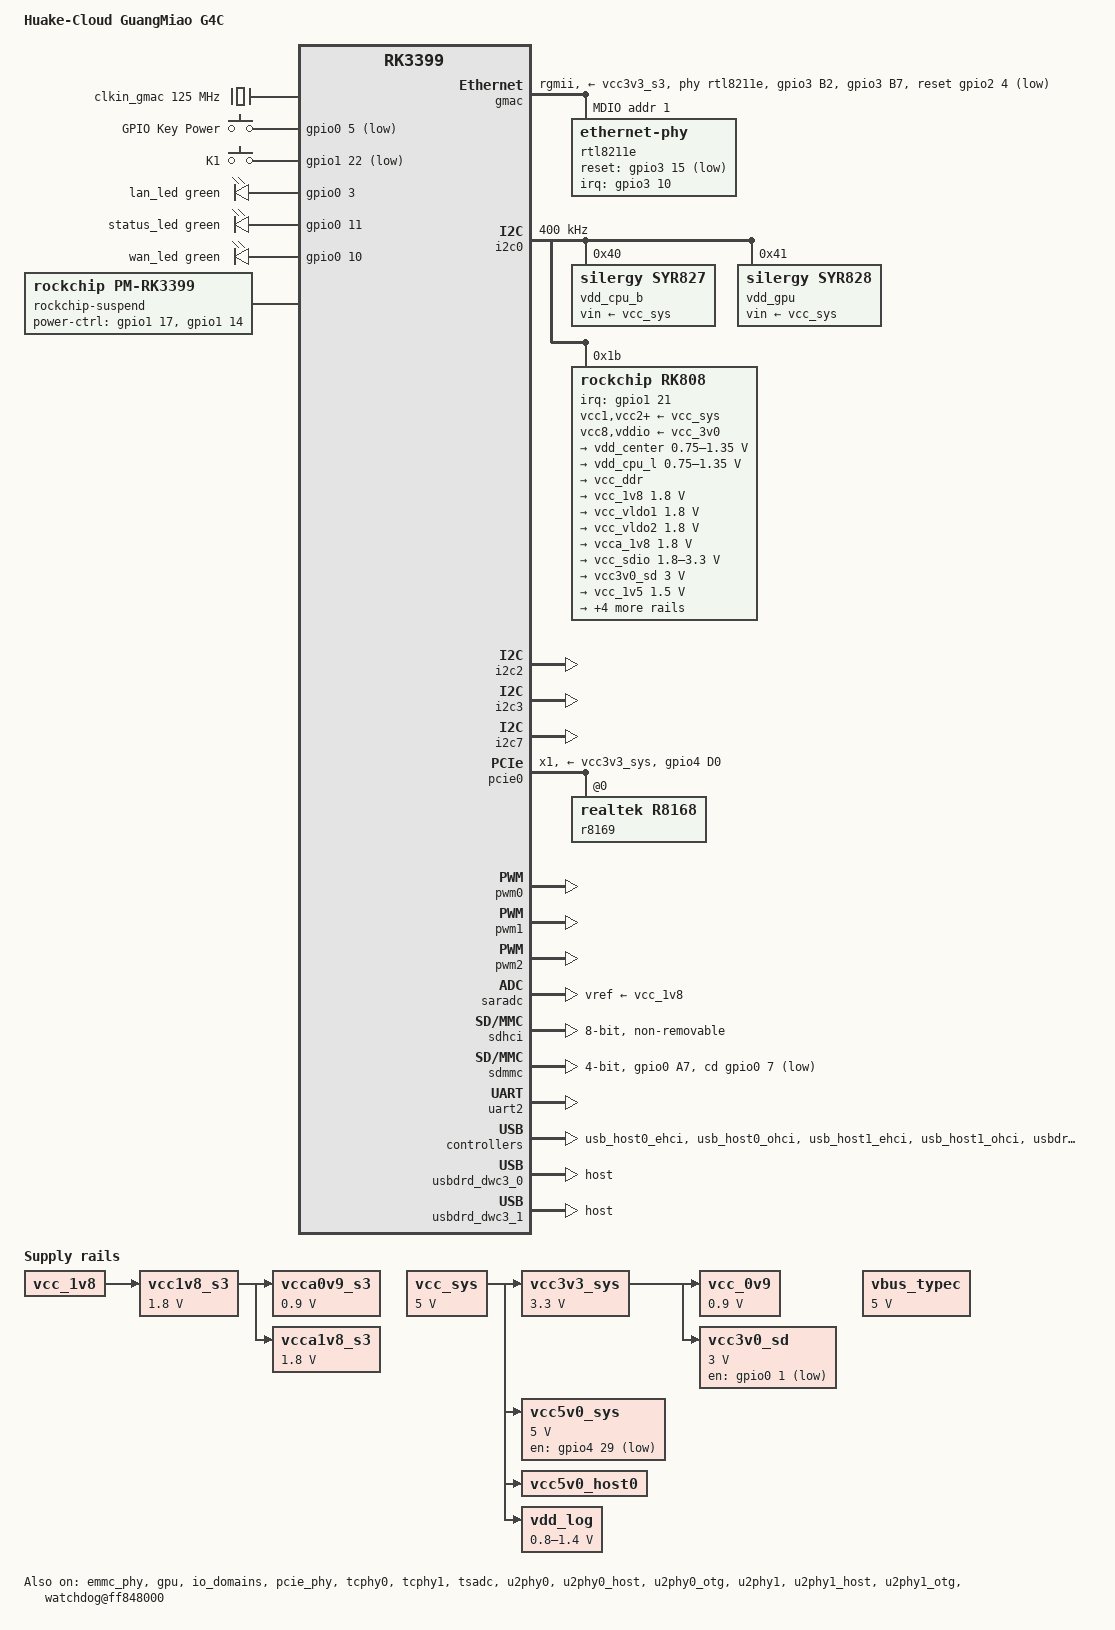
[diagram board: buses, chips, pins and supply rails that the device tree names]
// SPDX-License-Identifier: GPL-2.0-or-later OR MIT
/dts-v1/;
#include <dt-bindings/gpio/gpio.h>
#include <dt-bindings/input/input.h>
#include <dt-bindings/leds/common.h>
#include <dt-bindings/interrupt-controller/irq.h>
#include <dt-bindings/interrupt-controller/arm-gic.h>
#include <dt-bindings/pinctrl/rockchip.h>
#include <dt-bindings/clock/rk3399-cru.h>
#include <dt-bindings/power/rk3399-power.h>
#include "rk3399.dtsi"

/ {
    model = "Huake-Cloud GuangMiao G4C";
    compatible = "huake,guangmiao-g4c", "rockchip,rk3399";

    aliases {
        ethernet0 = &gmac;
        ethernet1 = &r8169;
        led-boot = &status_led;
        led-failsafe = &status_led;
        led-running = &status_led;
        led-upgrade = &status_led;
    };

    chosen {
        stdout-path = "serial2:115200n8";
    };

    clkin_gmac: external-gmac-clock {
        compatible = "fixed-clock";
        clock-frequency = <125000000>;
        clock-output-names = "clkin_gmac";
        #clock-cells = <0>;
    };

    vcc_sys: vcc-sys-regulator {
        compatible = "regulator-fixed";
        regulator-name = "vcc_sys";
        regulator-always-on;
        regulator-boot-on;
        regulator-min-microvolt = <5000000>;
        regulator-max-microvolt = <5000000>;
    };

    vcc3v3_sys: vcc3v3-sys-regulator {
        compatible = "regulator-fixed";
        regulator-name = "vcc3v3_sys";
        regulator-always-on;
        regulator-boot-on;
        regulator-min-microvolt = <3300000>;
        regulator-max-microvolt = <3300000>;
        vin-supply = <&vcc_sys>;
    };

    vcc5v0_sys: vcc5v0-sys-regulator {
        compatible = "regulator-fixed";
        regulator-name = "vcc5v0_sys";
        regulator-always-on;
        regulator-boot-on;
        regulator-min-microvolt = <5000000>;
        regulator-max-microvolt = <5000000>;
        vin-supply = <&vcc_sys>;
        gpios = <&gpio4 29 GPIO_ACTIVE_HIGH>;
        pinctrl-names = "default";
        pinctrl-0 = <&pcie_ext_en>;
    };

    vcc_0v9: vcc-0v9-regulator {
        compatible = "regulator-fixed";
        regulator-name = "vcc_0v9";
        regulator-always-on;
        regulator-boot-on;
        regulator-min-microvolt = <900000>;
        regulator-max-microvolt = <900000>;
        vin-supply = <&vcc3v3_sys>;
    };

    vcc5v0_host0: vcc5v0-host0-regulator {
        compatible = "regulator-fixed";
        regulator-name = "vcc5v0_host0";
        regulator-always-on;
        regulator-boot-on;
        vin-supply = <&vcc_sys>;
    };

    vdd_log: vdd-log-regulator {
        compatible = "pwm-regulator";
        pwms = <&pwm2 0 25000 1>;
        regulator-name = "vdd_log";
        regulator-always-on;
        regulator-boot-on;
        regulator-min-microvolt = <800000>;
        regulator-max-microvolt = <1400000>;
        vin-supply = <&vcc_sys>;
    };

    vcc1v8_s3: vcc1v8-s3-regulator {
        compatible = "regulator-fixed";
        regulator-name = "vcc1v8_s3";
        regulator-always-on;
        regulator-boot-on;
        regulator-min-microvolt = <1800000>;
        regulator-max-microvolt = <1800000>;
        vin-supply = <&vcc_1v8>;
    };

    vcca0v9_s3: vcca0v9-s3-regulator {
        compatible = "regulator-fixed";
        regulator-name = "vcca0v9_s3";
        regulator-min-microvolt = <900000>;
        regulator-max-microvolt = <900000>;
        vin-supply = <&vcc1v8_s3>;
    };

    vcca1v8_s3: vcca1v8-s3-regulator {
        compatible = "regulator-fixed";
        regulator-name = "vcca1v8_s3";
        regulator-min-microvolt = <1800000>;
        regulator-max-microvolt = <1800000>;
        vin-supply = <&vcc1v8_s3>;
    };

    vcc3v0_sd: vcc3v0-sd-regulator {
        compatible = "regulator-fixed";
        regulator-name = "vcc3v0_sd";
        regulator-always-on;
        regulator-min-microvolt = <3000000>;
        regulator-max-microvolt = <3000000>;
        regulator-uv-protection-microvolt = <2700000>;
        vin-supply = <&vcc3v3_sys>;
        gpios = <&gpio0 1 GPIO_ACTIVE_HIGH>;
        pinctrl-names = "default";
        pinctrl-0 = <&sdmmc0_pwr_h>;
    };

    vbus_typec: vbus-typec-regulator {
        compatible = "regulator-fixed";
        regulator-name = "vbus_typec";
        regulator-min-microvolt = <5000000>;
        regulator-max-microvolt = <5000000>;
    };

    gpio-keys {
        compatible = "gpio-keys";
        autorepeat;
        pinctrl-names = "default";
        pinctrl-0 = <&key_pins>;

        power {
            label = "GPIO Key Power";
            debounce-interval = <100>;
            gpios = <&gpio0 5 GPIO_ACTIVE_LOW>;
            linux,code = <KEY_POWER>;
            wakeup-source;
        };

        button-k1 {
            label = "K1";
            debounce-interval = <50>;
            gpios = <&gpio1 22 GPIO_ACTIVE_LOW>;
            linux,code = <KEY_F1>;
            wakeup-source;
        };
    };

    gpio-leds {
        compatible = "gpio-leds";
        pinctrl-names = "default";
        pinctrl-0 = <&lan_led_pin>, <&status_led_pin>, <&wan_led_pin>;

        lan_led: led-lan {
            color = <LED_COLOR_ID_GREEN>;
            function = LED_FUNCTION_LAN;
            gpios = <&gpio0 3 GPIO_ACTIVE_HIGH>;
        };

        status_led: led-status {
            color = <LED_COLOR_ID_GREEN>;
            function = LED_FUNCTION_STATUS;
            gpios = <&gpio0 11 GPIO_ACTIVE_HIGH>;
            linux,default-trigger = "heartbeat";
        };

        wan_led: led-wan {
            color = <LED_COLOR_ID_GREEN>;
            function = LED_FUNCTION_WAN;
            gpios = <&gpio0 10 GPIO_ACTIVE_HIGH>;
        };
    };

    rockchip-suspend {
        compatible = "rockchip,pm-rk3399";
        rockchip,sleep-debug-en = <1>;
        rockchip,sleep-mode-config = <0xde>;
        rockchip,wakeup-config = <0x804>;
        rockchip,pwm-regulator-config = <0x04>;
        rockchip,power-ctrl = <&gpio1 17 0>, <&gpio1 14 0>;
        status = "okay"; 
    };

    watchdog@ff848000 {
        compatible = "snps,dw-wdt";
        reg = <0x0 0xff848000 0x0 0x100>;
        clocks = <&cru PCLK_WDT>;
        interrupts = <GIC_SPI 120 IRQ_TYPE_LEVEL_HIGH 0>;
        status = "okay";
        timeout-sec = <8>;
    };
};

&cpu_b0 { cpu-supply = <&vdd_cpu_b>; };
&cpu_b1 { cpu-supply = <&vdd_cpu_b>; };
&cpu_l0 { cpu-supply = <&vdd_cpu_l>; };
&cpu_l1 { cpu-supply = <&vdd_cpu_l>; };
&cpu_l2 { cpu-supply = <&vdd_cpu_l>; };
&cpu_l3 { cpu-supply = <&vdd_cpu_l>; };

&emmc_phy { status = "okay"; };

&gmac {
    assigned-clock-parents = <&clkin_gmac>;
    assigned-clocks = <&cru SCLK_RMII_SRC>;
    clock_in_out = "input";
    pinctrl-names = "default";
    pinctrl-0 = <&rgmii_pins>, <&phy_intb>, <&phy_rstb>;
    phy-handle = <&rtl8211e>;
    phy-mode = "rgmii";
    phy-supply = <&vcc3v3_s3>;
    snps,reset-gpio = <&gpio2 4 GPIO_ACTIVE_LOW>;
    snps,reset-active-low;
    snps,reset-delays-us = <0 10000 50000>;
    tx_delay = <0x28>;
    rx_delay = <0x11>;
    status = "okay";

    mdio {
        compatible = "snps,dwmac-mdio";
        #address-cells = <1>;
        #size-cells = <0>;

        rtl8211e: ethernet-phy@1 {
            reg = <1>;
            interrupt-parent = <&gpio3>;
            interrupts = <10 IRQ_TYPE_LEVEL_LOW>;
            reset-assert-us = <10000>;
            reset-deassert-us = <30000>;
            reset-gpios = <&gpio3 15 GPIO_ACTIVE_LOW>;
        };
    };
};

&gpu {
    mali-supply = <&vdd_gpu>;
    status = "okay";
};

&i2c0 {
    clock-frequency = <400000>;
    i2c-scl-rising-time-ns = <160>;
    i2c-scl-falling-time-ns = <30>;
    status = "okay";

    vdd_cpu_b: regulator@40 {
        compatible = "silergy,syr827";
        reg = <0x40>;
        fcs,suspend-voltage-selector = <1>;
        pinctrl-names = "default";
        pinctrl-0 = <&cpu_b_sleep>;
        regulator-always-on;
        regulator-boot-on;
        regulator-min-microvolt = <712500>;
        regulator-max-microvolt = <1500000>;
        regulator-name = "vdd_cpu_b";
        regulator-ramp-delay = <1000>;
        vin-supply = <&vcc_sys>;
        regulator-state-mem {
            regulator-on-in-suspend;
        };
    };

    vdd_gpu: regulator@41 {
        compatible = "silergy,syr828";
        reg = <0x41>;
        fcs,suspend-voltage-selector = <1>;
        pinctrl-names = "default";
        pinctrl-0 = <&gpu_sleep>;
        regulator-always-on;
        regulator-boot-on;
        regulator-min-microvolt = <712500>;
        regulator-max-microvolt = <1500000>;
        regulator-name = "vdd_gpu";
        regulator-ramp-delay = <1000>;
        vin-supply = <&vcc_sys>;
        regulator-state-mem {
            regulator-on-in-suspend;
        };
    };

    rk808: pmic@1b {
        compatible = "rockchip,rk808";
        reg = <0x1b>;
        clock-output-names = "xin32k", "rtc_clko_wifi";
        #clock-cells = <1>;
        interrupt-parent = <&gpio1>;
        interrupts = <21 IRQ_TYPE_LEVEL_LOW>;
        pinctrl-names = "default";
        pinctrl-0 = <&pmic_int_l>;
        rockchip,system-power-controller;
        wakeup-source;
        vcc1-supply = <&vcc_sys>;
        vcc2-supply = <&vcc_sys>;
        vcc3-supply = <&vcc_sys>;
        vcc4-supply = <&vcc_sys>;
        vcc6-supply = <&vcc_sys>;
        vcc7-supply = <&vcc_sys>;
        vcc8-supply = <&vcc_3v0>;
        vcc9-supply = <&vcc_sys>;
        vcc10-supply = <&vcc_sys>;
        vcc11-supply = <&vcc_sys>;
        vcc12-supply = <&vcc_sys>;
        vddio-supply = <&vcc_3v0>;

        regulators {
            vdd_center: DCDC_REG1 {
                regulator-always-on;
                regulator-boot-on;
                regulator-min-microvolt = <750000>;
                regulator-max-microvolt = <1350000>;
                regulator-name = "vdd_center";
                regulator-ramp-delay = <6001>;
                regulator-state-mem {
                    regulator-on-in-suspend;
                };
            };
            vdd_cpu_l: DCDC_REG2 {
                regulator-always-on;
                regulator-boot-on;
                regulator-min-microvolt = <750000>;
                regulator-max-microvolt = <1350000>;
                regulator-name = "vdd_cpu_l";
                regulator-ramp-delay = <6001>;
                regulator-state-mem {
                    regulator-on-in-suspend;
                };
            };
            vcc_ddr: DCDC_REG3 {
                regulator-always-on;
                regulator-boot-on;
                regulator-name = "vcc_ddr";
                regulator-state-mem {
                    regulator-on-in-suspend;
                };
            };
            vcc_1v8: DCDC_REG4 {
                regulator-always-on;
                regulator-boot-on;
                regulator-min-microvolt = <1800000>;
                regulator-max-microvolt = <1800000>;
                regulator-name = "vcc_1v8";
                regulator-state-mem {
                    regulator-on-in-suspend;
                    regulator-suspend-microvolt = <1800000>;
                };
            };
            vcc_vldo1: LDO_REG1 {
                regulator-always-on;
                regulator-boot-on;
                regulator-min-microvolt = <1800000>;
                regulator-max-microvolt = <1800000>;
                regulator-name = "vcc_vldo1";
                regulator-state-mem {
                    regulator-on-in-suspend;
                };
            };
            vcc_vldo2: LDO_REG2 {
                regulator-always-on;
                regulator-boot-on;
                regulator-min-microvolt = <1800000>;
                regulator-max-microvolt = <1800000>;
                regulator-name = "vcc_vldo2";
                regulator-state-mem {
                    regulator-on-in-suspend;
                };
            };
            vcca_1v8: LDO_REG3 {
                regulator-always-on;
                regulator-boot-on;
                regulator-min-microvolt = <1800000>;
                regulator-max-microvolt = <1800000>;
                regulator-name = "vcca_1v8";
                regulator-state-mem {
                    regulator-on-in-suspend;
                    regulator-suspend-microvolt = <1800000>;
                };
            };
            vcc_sdio: LDO_REG4 {
                regulator-always-on;
                regulator-boot-on;
                regulator-min-microvolt = <1800000>;
                regulator-max-microvolt = <3300000>;
                regulator-name = "vcc_sdio";
                regulator-state-mem {
                    regulator-on-in-suspend;
                    regulator-suspend-microvolt = <3300000>;
                };
            };
            LDO_REG5 {
                regulator-always-on;
                regulator-boot-on;
                regulator-min-microvolt = <3000000>;
                regulator-max-microvolt = <3000000>;
                regulator-name = "vcc3v0_sd";
                regulator-state-mem {
                    regulator-on-in-suspend;
                    regulator-suspend-microvolt = <3000000>;
                };
            };
            vcc_1v5: LDO_REG6 {
                regulator-always-on;
                regulator-boot-on;
                regulator-min-microvolt = <1500000>;
                regulator-max-microvolt = <1500000>;
                regulator-name = "vcc_1v5";
                regulator-state-mem {
                    regulator-on-in-suspend;
                    regulator-suspend-microvolt = <1500000>;
                };
            };
            vcca1v8_codec: LDO_REG7 {
                regulator-always-on;
                regulator-boot-on;
                regulator-min-microvolt = <1800000>;
                regulator-max-microvolt = <1800000>;
                regulator-name = "vcca1v8_codec";
                regulator-state-mem {
                    regulator-on-in-suspend;
                };
            };
            vcc_3v0: LDO_REG8 {
                regulator-always-on;
                regulator-boot-on;
                regulator-min-microvolt = <3000000>;
                regulator-max-microvolt = <3000000>;
                regulator-name = "vcc_3v0";
                regulator-state-mem {
                    regulator-on-in-suspend;
                    regulator-suspend-microvolt = <3000000>;
                };
            };
            vcc3v3_s3: SWITCH_REG1 {
                regulator-always-on;
                regulator-boot-on;
                regulator-name = "vcc3v3_s3";
                regulator-state-mem {
                    regulator-on-in-suspend;
                };
            };
            vcc3v3_s0: SWITCH_REG2 {
                regulator-always-on;
                regulator-boot-on;
                regulator-name = "vcc3v3_s0";
                regulator-state-mem {
                    regulator-on-in-suspend;
                };
            };
        };
    };
};

&i2c2 { status = "okay"; };
&i2c3 {
    i2c-scl-rising-time-ns = <450>;
    i2c-scl-falling-time-ns = <15>;
    status = "okay";
};
&i2c7 { status = "okay"; };

&io_domains {
    bt656-supply = <&vcc_1v8>;
    audio-supply = <&vcca1v8_codec>;
    sdmmc-supply = <&vcc_sdio>;
    gpio1830-supply = <&vcc_3v0>;
    status = "okay";
};

&pmu_io_domains {
    pmu1830-supply = <&vcc_3v0>;
    status = "okay";
};

&pcie0 {
    ep-gpios = <&gpio4 27 GPIO_ACTIVE_HIGH>;
    max-link-speed = <1>;
    num-lanes = <1>;
    pinctrl-names = "default";
    pinctrl-0 = <&pcie_clkreqnb_cpm>;
    vpcie0v9-supply = <&vcca0v9_s3>;
    vpcie1v8-supply = <&vcca_1v8>;
    vpcie3v3-supply = <&vcc3v3_sys>;
    status = "okay";

    pcie@0 {
        reg = <0x00000000 0 0 0 0>;
        #address-cells = <3>;
        #size-cells = <2>;
        r8169: pcie@0,0 {
            compatible = "realtek,r8168";
            reg = <0x000000 0 0 0 0>;
            realtek,led-data = <0x87>;
        };
    };
};

&pcie_phy {
    assigned-clock-parents = <&cru SCLK_PCIEPHY_REF100M>;
    assigned-clock-rates = <100000000>;
    assigned-clocks = <&cru SCLK_PCIEPHY_REF>;
    status = "okay";
};

&pinctrl {
    gpio-leds {
        lan_led_pin: lan-led-pin { rockchip,pins = <0 RK_PA3 RK_FUNC_GPIO &pcfg_pull_none>; };
        status_led_pin: status-led-pin { rockchip,pins = <0 RK_PB3 RK_FUNC_GPIO &pcfg_pull_none>; };
        wan_led_pin: wan-led-pin { rockchip,pins = <0 RK_PB2 RK_FUNC_GPIO &pcfg_pull_none>; };
    };
    gmac {
        phy_intb: phy-intb { rockchip,pins = <3 RK_PB2 RK_FUNC_GPIO &pcfg_pull_up>; };
        phy_rstb: phy-rstb { rockchip,pins = <3 RK_PB7 RK_FUNC_GPIO &pcfg_pull_none>; };
    };
    pcie-net {
        pcie_ext_en: pcie-ext-en { rockchip,pins = <4 RK_PD5 RK_FUNC_GPIO &pcfg_pull_up>; };
    };
    pmic {
        cpu_b_sleep: cpu-b-sleep { rockchip,pins = <1 RK_PC2 RK_FUNC_GPIO &pcfg_pull_down>; };
        gpu_sleep: gpu-sleep { rockchip,pins = <1 RK_PB6 RK_FUNC_GPIO &pcfg_pull_down>; };
        pmic_int_l: pmic-int-l { rockchip,pins = <1 RK_PC5 RK_FUNC_GPIO &pcfg_pull_up>; };
    };
    rockchip-key {
        key_pins: key-pins {
            rockchip,pins = <0 RK_PA5 RK_FUNC_GPIO &pcfg_pull_up>,
                            <1 RK_PC6 RK_FUNC_GPIO &pcfg_pull_up>;
        };
    };
    sdmmc {
        sdmmc0_det_l: sdmmc0-det-l { rockchip,pins = <0 RK_PA7 RK_FUNC_GPIO &pcfg_pull_up>; };
        sdmmc0_pwr_h: sdmmc0-pwr-h { rockchip,pins = <0 RK_PA1 RK_FUNC_GPIO &pcfg_pull_none>; };
    };
    pcie {
        pcie_clkreqnb_cpm: pci-clkreqnb-cpm { rockchip,pins = <4 RK_PD0 RK_FUNC_GPIO &pcfg_pull_none>; };
    };
};

&pwm0 { status = "okay"; };
&pwm1 { status = "okay"; };
&pwm2 {
    pinctrl-names = "active";
    pinctrl-0 = <&pwm2_pin_pull_down>;
    status = "okay";
};
&pwm2_pin_pull_down { rockchip,pins = <1 RK_PC3 RK_FUNC_GPIO &pcfg_pull_down>; };

&saradc {
    vref-supply = <&vcc_1v8>;
    status = "okay";
};

&sdhci {
    bus-width = <8>;
    mmc-hs200-1_8v;
    non-removable;
    status = "okay";
};

&sdmmc {
    bus-width = <4>;
    cap-mmc-highspeed;
    cap-sd-highspeed;
    cd-gpios = <&gpio0 7 GPIO_ACTIVE_LOW>;
    disable-wp;
    pinctrl-names = "default";
    pinctrl-0 = <&sdmmc_bus4>, <&sdmmc_clk>, <&sdmmc_cmd>, <&sdmmc0_det_l>;
    sd-uhs-sdr50;
    vqmmc-supply = <&vcc_sdio>;
    status = "okay";
};

&tcphy0 { status = "okay"; };
&tcphy1 { status = "okay"; };

&tsadc {
    rockchip,hw-tshut-mode = <1>;
    rockchip,hw-tshut-polarity = <1>;
    status = "okay";
};

&uart0 { status = "disabled"; };
&uart2 { status = "okay"; };

&usb_host0_ehci { status = "okay"; };
&usb_host0_ohci { status = "okay"; };
&usb_host1_ehci { status = "okay"; };
&usb_host1_ohci { status = "okay"; };

&u2phy0 { status = "okay"; };
&u2phy0_host {
    phy-supply = <&vcc5v0_host0>;
    status = "okay";
};
&u2phy0_otg { status = "okay"; };
&u2phy1 { status = "okay"; };
&u2phy1_host {
    phy-supply = <&vcc5v0_host0>;
    status = "okay";
};
&u2phy1_otg { status = "okay"; };

&usbdrd3_0 { status = "okay"; };
&usbdrd_dwc3_0 {
    dr_mode = "host";
    status = "okay";
};
&usbdrd3_1 { status = "okay"; };
&usbdrd_dwc3_1 {
    dr_mode = "host";
    status = "okay";
};
